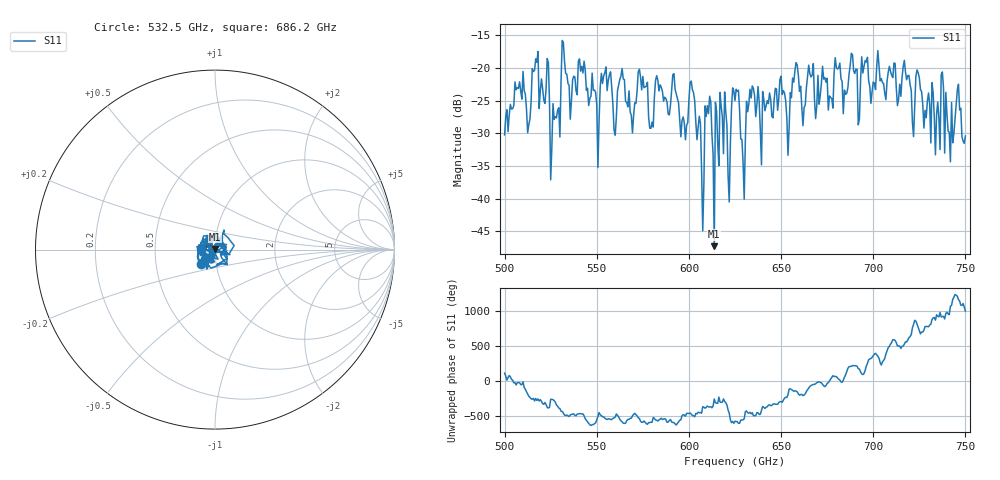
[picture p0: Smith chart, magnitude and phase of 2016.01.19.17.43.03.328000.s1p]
!Created with skrf (http://scikit-rf.org).
# GHz S RI R 50.0
!freq ReS11 ImS11
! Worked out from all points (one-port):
!   401 points, 500 GHz to 750 GHz, reference 50 ohm
!   lowest |S11| = -47.3 dB at 613.8 GHz (marker M1), VSWR 1.01, Z = 49.9 + j0.426 ohm
!   |S11| at or under -10 dB: start of sweep to end of sweep
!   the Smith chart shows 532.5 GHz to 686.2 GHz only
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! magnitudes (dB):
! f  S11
! 500 GHz  -30.2
! 506.9 GHz  -23.0
! 513.1 GHz  -28.6
! 516.9 GHz  -18.6
! 526.2 GHz  -25.4
! 531.2 GHz  -15.8
! 550 GHz  -25.6
! 562.5 GHz  -21.7
! 569.4 GHz  -29.9
! 573.8 GHz  -21.4
! 579.4 GHz  -29.2
! 583.1 GHz  -21.8
! 593.8 GHz  -24.6
! 601.9 GHz  -23.3
! 606.9 GHz  -35.6
! 610.6 GHz  -27.0
! 613.8 GHz  -47.3
! 618.1 GHz  -27.4
! 621.9 GHz  -40.5
! 625 GHz  -25.0
! 629.4 GHz  -34.4
! 634.4 GHz  -22.7
! 653.8 GHz  -33.4
! 656.2 GHz  -21.5
! 687.5 GHz  -19.6
! 718.8 GHz  -21.2
! 746.2 GHz  -22.5
! 750 GHz  -30.4
